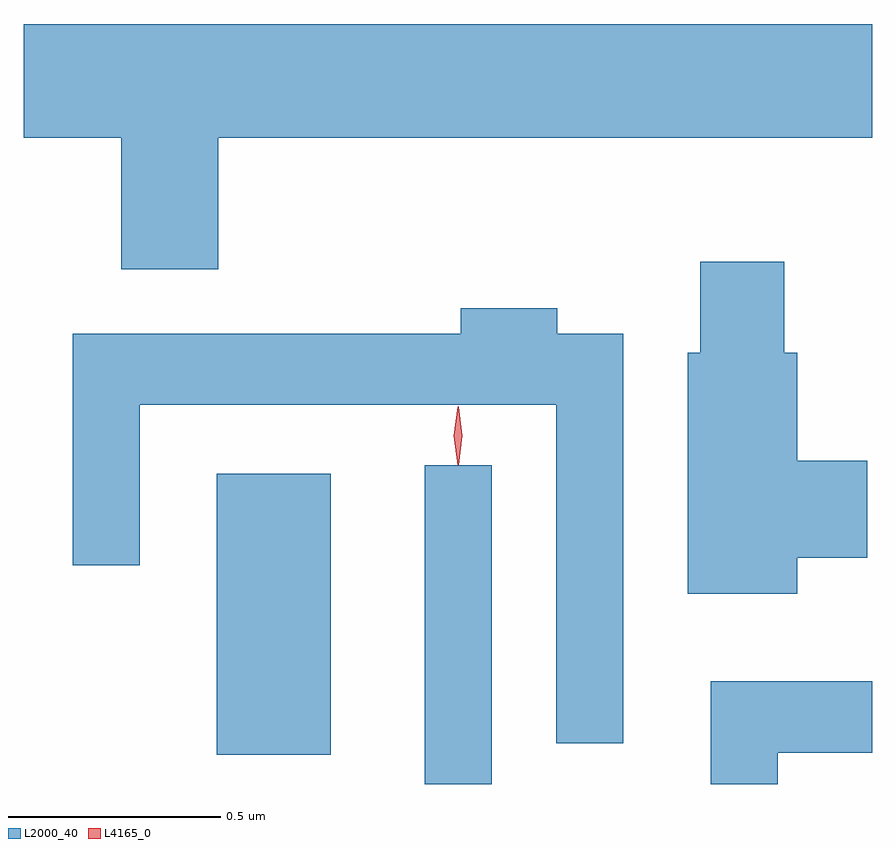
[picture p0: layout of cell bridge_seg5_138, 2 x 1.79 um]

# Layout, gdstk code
import gdstk
lib = gdstk.Library(unit=1e-6, precision=1e-09)
def R(c, l, rs):  # rectangles x0, y0, x1, y1
    for r in rs: c.add(gdstk.rectangle(r[:2], r[2:], *l))
def P(c, l, *ps):  # polygons
    for p in ps: c.add(gdstk.Polygon(p, *l))
L2000_40 = (2000, 40)
L4165_0 = (4165, 0)

bridge_seg5_138 = lib.new_cell('bridge_seg5_138')
R(bridge_seg5_138, L2000_40, [(1221.786,1417.532,1221.944,1418.283), (1221.296,1417.601,1221.564,1418.264)])
P(bridge_seg5_138, L2000_40, [(1221.299,1419.056),(1222.841,1419.056),(1222.841,1419.324),(1220.841,1419.324),(1220.841,1419.056),(1221.071,1419.056),(1221.071,1418.746),(1221.299,1418.746)],
  [(1222.664,1418.066),(1222.829,1418.066),(1222.829,1418.294),(1222.664,1418.294),(1222.664,1418.549),(1222.634,1418.549),(1222.634,1418.764),(1222.436,1418.764),(1222.436,1418.549),(1222.406,1418.549),(1222.406,1417.981),(1222.664,1417.981)],
  [(1222.254,1418.594),(1222.099,1418.594),(1222.099,1418.654),(1221.871,1418.654),(1221.871,1418.594),(1220.956,1418.594),(1220.956,1418.048),(1221.114,1418.048),(1221.114,1418.426),(1222.096,1418.426),(1222.096,1417.628),(1222.254,1417.628)],
  [(1222.619,1417.606),(1222.841,1417.606),(1222.841,1417.774),(1222.461,1417.774),(1222.461,1417.532),(1222.619,1417.532)])
P(bridge_seg5_138, L4165_0, [(1221.865,1418.283),(1221.864,1418.284),(1221.855,1418.353),(1221.864,1418.422),(1221.865,1418.423),(1221.866,1418.422),(1221.875,1418.353),(1221.866,1418.284)])

lib.write_gds('bridge_seg5_138.gds')
